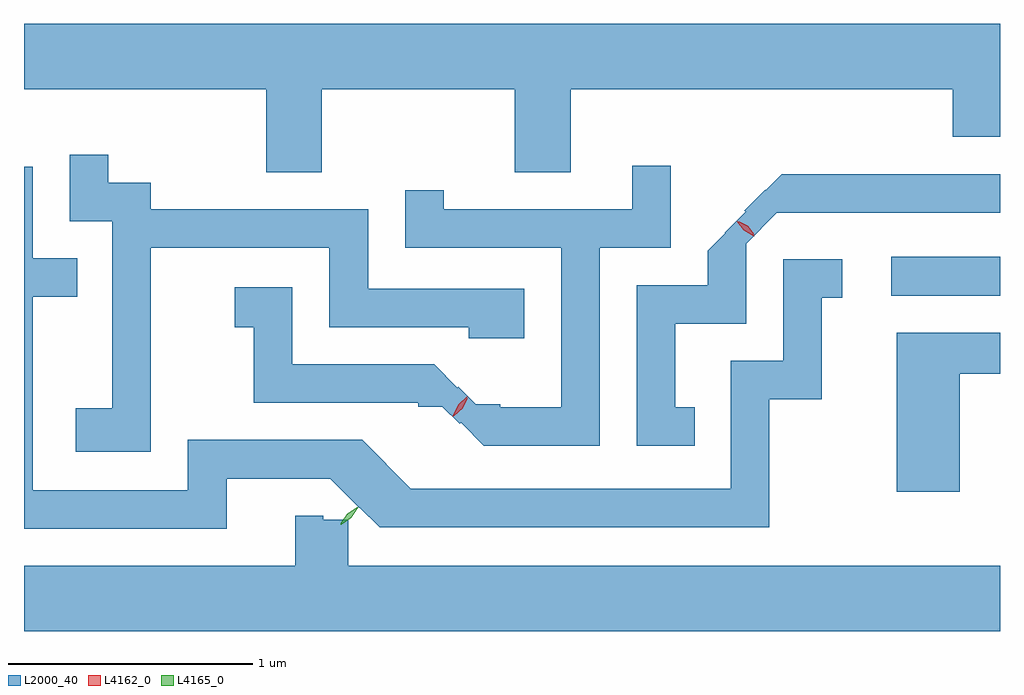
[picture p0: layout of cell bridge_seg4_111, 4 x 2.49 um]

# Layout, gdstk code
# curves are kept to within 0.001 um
import gdstk
lib = gdstk.Library(unit=1e-6, precision=1e-09)
def R(c, l, rs):  # rectangles x0, y0, x1, y1
    for r in rs: c.add(gdstk.rectangle(r[:2], r[2:], *l))
def P(c, l, *ps):  # polygons
    for p in ps: c.add(gdstk.Polygon(p, *l))
L2000_40 = (2000, 40)
L4162_0 = (4162, 0)
L4165_0 = (4165, 0)

bridge_seg4_111 = lib.new_cell('bridge_seg4_111')
R(bridge_seg4_111, L2000_40, [(861.633,1336.071,862.079,1336.229)])
P(bridge_seg4_111, L2000_40, [(858.079,1336.916),(859.071,1336.916),(859.071,1336.576),(859.299,1336.576),(859.299,1336.916),(860.091,1336.916),(860.091,1336.576),(860.319,1336.576),(860.319,1336.916),(861.886,1336.916),(861.886,1336.721),(862.079,1336.721),(862.079,1337.184),(858.079,1337.184)],
  [(858.599,1336.266),(859.331,1336.266),(859.331,1335.941),(859.901,1335.941),(859.901,1335.896),(860.129,1335.896),(860.129,1336.099),(859.489,1336.099),(859.489,1336.424),(858.599,1336.424),(858.599,1336.534),(858.424,1336.534),(858.424,1336.648),(858.266,1336.648),(858.266,1336.376),(858.441,1336.376),(858.441,1335.609),(858.291,1335.609),(858.291,1335.431),(858.599,1335.431)],
  [(860.439,1336.266),(860.729,1336.266),(860.729,1336.603),(860.571,1336.603),(860.571,1336.424),(859.799,1336.424),(859.799,1336.503),(859.641,1336.503),(859.641,1336.266),(860.281,1336.266),(860.281,1335.614),(860.03,1335.614),(860.03,1335.626),(859.93,1335.626),(859.858,1335.698),(859.854,1335.694),(859.76,1335.789),(859.179,1335.789),(859.179,1336.104),(858.943,1336.104),(858.943,1335.941),(859.021,1335.941),(859.021,1335.631),(859.695,1335.631),(859.695,1335.615),(859.794,1335.615),(859.865,1335.545),(859.87,1335.55),(859.964,1335.456),(860.439,1335.456)],
  [(858.909,1335.321),(859.334,1335.321),(859.452,1335.202),(859.453,1335.203),(859.536,1335.121),(861.134,1335.121),(861.134,1335.646),(861.349,1335.646),(861.349,1336.061),(861.433,1336.061),(861.433,1336.219),(861.191,1336.219),(861.191,1335.804),(860.976,1335.804),(860.976,1335.279),(859.665,1335.279),(859.465,1335.479),(858.751,1335.479),(858.751,1335.274),(858.114,1335.274),(858.114,1336.066),(858.298,1336.066),(858.298,1336.224),(858.114,1336.224),(858.114,1336.599),(858.079,1336.599),(858.079,1335.116),(858.909,1335.116)],
  [(860.828,1335.614),(860.749,1335.614),(860.749,1335.956),(861.039,1335.956),(861.039,1336.284),(861.165,1336.41),(862.079,1336.411),(862.079,1336.569),(861.185,1336.569),(861.119,1336.503),(861.117,1336.505),(861.031,1336.419),(861.036,1336.415),(860.95,1336.329),(860.952,1336.326),(860.881,1336.255),(860.881,1336.114),(860.591,1336.114),(860.591,1335.456),(860.828,1335.456)],
  [(861.914,1335.751),(862.079,1335.751),(862.079,1335.919),(861.656,1335.919),(861.656,1335.266),(861.914,1335.266)],
  [(862.079,1334.964),(859.408,1334.964),(859.408,1335.153),(859.305,1335.153),(859.305,1335.168),(859.191,1335.168),(859.191,1334.964),(858.079,1334.964),(858.079,1334.696),(862.079,1334.696)])
P(bridge_seg4_111, L4162_0, [(861.07,1336.315),(861.029,1336.338),(861.001,1336.376),(861.001,1336.376),(861.002,1336.376),(861.043,1336.353),(861.071,1336.315),(861.071,1336.315)],
  [(859.837,1335.575),(859.837,1335.576),(859.858,1335.623),(859.895,1335.659),(859.896,1335.659),(859.896,1335.658),(859.874,1335.611),(859.837,1335.575)],
  [(859.841,1335.579),(859.841,1335.58),(859.861,1335.621),(859.896,1335.651),(859.897,1335.651),(859.897,1335.651),(859.877,1335.609),(859.842,1335.579)],
  [(861.07,1336.323),(861.033,1336.342),(861.008,1336.376),(861.008,1336.376),(861.009,1336.376),(861.046,1336.357),(861.071,1336.323),(861.071,1336.323)])
P(bridge_seg4_111, L4165_0, [(859.378,1335.132),(859.378,1335.133),(859.406,1335.175),(859.447,1335.204),(859.448,1335.204),(859.448,1335.203),(859.42,1335.161),(859.379,1335.132)],
  [(859.378,1335.136),(859.378,1335.137),(859.404,1335.177),(859.444,1335.204),(859.445,1335.204),(859.445,1335.203),(859.418,1335.163),(859.379,1335.136)])

lib.write_gds('bridge_seg4_111.gds')
